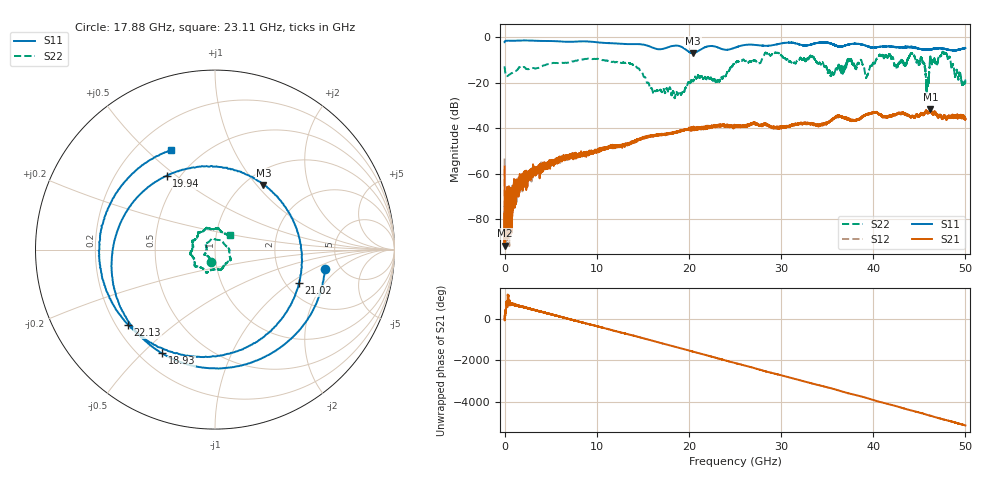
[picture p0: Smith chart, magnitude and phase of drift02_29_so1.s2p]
!Created with skrf (http://scikit-rf.org).
# Hz S RI R 50.0
!freq ReS11 ImS11 ReS21 ImS21 ReS12 ImS12 ReS22 ImS22
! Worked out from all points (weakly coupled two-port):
!   10001 points, 300 kHz to 50 GHz, reference 50 ohm
!   highest |S21| = -31.42 dB at 46.2 GHz (marker M1); lowest = -91.4 dB at 10.3 MHz (marker M2)
!   lowest |S11| = -6.9 dB at 20.44 GHz (marker M3), VSWR 2.64, Z = 60.1 + j54.4 ohm
!   |S11| at or under -10 dB: nowhere
!   |S22| runs from -26.7 to -6.2 dB; largest |S21 - S12| = 0.0036
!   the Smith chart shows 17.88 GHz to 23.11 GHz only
!   S11 on the Smith chart (normalised r, x): 17.88 GHz: 3.79, -1.35; 18.93 GHz: 0.29, -0.57; 19.94 GHz: 0.43, +0.46; 21.02 GHz: 2.36, -1.16; 22.13 GHz: 0.25, -0.35; 23.11 GHz: 0.34, +0.60
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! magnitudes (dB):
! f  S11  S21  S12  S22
! 300 kHz  -2.1  -56.7  -53.2  -12.7
! 10.3 MHz  -2.1  -91.4  -78.7  -13.4
! 265.3 MHz  -1.4  -80.7  -89.1  -17.0
! 2.385 GHz  -1.4  -62.5  -60.7  -13.9
! 8.335 GHz  -1.7  -51.1  -52.1  -9.7
! 13.7 GHz  -3.0  -46.3  -46.1  -11.7
! 16.67 GHz  -5.2  -42.9  -43.0  -23.6
! 17.88 GHz  -4.1  -42.2  -42.0  -22.6
! 18.93 GHz  -3.8  -41.4  -41.2  -23.7
! 19.94 GHz  -6.2  -40.4  -40.2  -19.7
! 20.44 GHz  -6.9  -39.9  -40.0  -19.1
! 21.02 GHz  -6.0  -40.1  -40.0  -16.9
! 22.13 GHz  -3.9  -39.6  -39.5  -17.7
! 23.11 GHz  -4.4  -38.7  -39.0  -18.8
! 25 GHz  -4.5  -38.9  -39.1  -11.4
! 33.34 GHz  -3.0  -37.9  -37.9  -8.4
! 39.32 GHz  -3.8  -33.6  -33.7  -17.1
! 41.67 GHz  -4.0  -34.6  -34.7  -7.9
! 45.84 GHz  -5.5  -32.6  -32.8  -19.4
! 46.2 GHz  -5.2  -31.4  -31.8  -8.3
! 47.76 GHz  -5.0  -34.7  -34.8  -6.7
! 50 GHz  -4.7  -35.9  -35.6  -18.9
